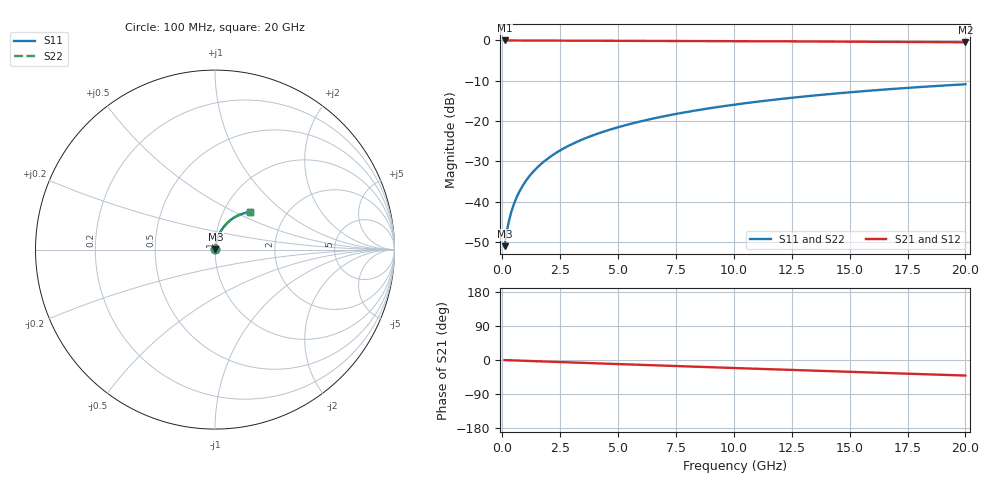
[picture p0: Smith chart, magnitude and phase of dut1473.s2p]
! Touchstone file exported from HFSS 2026.1.0
!  File:  C:/ffzhzh/LocalFiles/Ansys_Project_Files/temp_train_TMRDL_1473_1783167554_22436.aedt
!  Generated:  08:20:33 PM Jul  4, 2026
!  Design:  TMRDL
!  Project:  temp_train_TMRDL_1473_1783167554_22436
! Variables:
!  h_bsmrdl = 2um
!  h_ox = 20um
!  h_rdl = 5um
!  h_sub = 80um
!  h_tmrdl = 5.21um
!  h_tsv = 80um
!  h_via = 3um
!  l_bsmrdl = 300um
!  l_sub = 1053.1um
!  l_tmrdl = 653.1um
!  m_sub = 200um
!  pitch = 44.74um
!  r_tsv = 6um
!  s_tmrdl = 10um
!  w_bsmrdl = 18um
!  w_sub = 500um
!  w_tmrdl = 25.3um
!  x_tsv_center1 = 665.75um
!  x_tsv_center2 = 983.75um
!  x_tsv_center3 = 1662.15um
!  x_tsv_center4 = 1980.15um
!  x_tsv_center5 = 2658.55um
!  x_tsv_center6 = 2976.55um
# GHz S MA R 50.000000
! Terminal data exported
! Port[1] = TM_RDL1_1_T1
! Port[2] = TM_RDL1_1_T2
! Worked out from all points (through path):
!   200 points, 100 MHz to 20 GHz, reference 50 ohm
!   highest |S21| = -0.02 dB at 100 MHz (marker M1); lowest = -0.5 dB at 20 GHz (marker M2)
!   group delay of S21, straight-line fit = 5.69 ps
!   lowest |S11| = -51.1 dB at 100 MHz (marker M3), VSWR 1.01, Z = 50.2 + j0.199 ohm
!   |S11| at or under -10 dB: start of sweep to end of sweep
!   |S22| runs from -51.1 to -10.9 dB; largest |S21 - S12| = 4.7e-15
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0.1  0.002799 45.0  0.998 -0.2  0.998 -0.2  0.002799 45.0
! Gamma 0 0 0 0
! Port Impedance 50 0 50 0
0.2  0.004364 59.9  0.9978 -0.5  0.9978 -0.5  0.004364 59.9
0.3  0.005974 66.9  0.9977 -0.7  0.9977 -0.7  0.005974 66.9
0.4  0.007608 71.0  0.9976 -0.9  0.9976 -0.9  0.007608 71.0
0.5  0.009268 73.7  0.9975 -1.1  0.9975 -1.1  0.009268 73.7
0.6  0.01095 75.6  0.9975 -1.3  0.9975 -1.3  0.01095 75.6
0.8  0.01434 77.9  0.9973 -1.8  0.9973 -1.8  0.01434 77.9
1.1  0.01946 79.6  0.9971 -2.4  0.9971 -2.4  0.01946 79.6
1.5  0.0263 80.3  0.9967 -3.3  0.9967 -3.3  0.0263 80.3
1.8  0.0314 80.3  0.9963 -3.9  0.9963 -3.9  0.0314 80.3
2.1  0.03647 80.1  0.996 -4.6  0.996 -4.6  0.03647 80.1
2.7  0.0465 79.4  0.9951 -5.9  0.9951 -5.9  0.0465 79.4
3.5  0.05965 78.1  0.9937 -7.6  0.9937 -7.6  0.05965 78.1
4.2  0.07095 76.8  0.9924 -9.1  0.9924 -9.1  0.07095 76.8
5  0.08367 75.4  0.9909 -10.8  0.9909 -10.8  0.08367 75.4
5.9  0.09776 73.7  0.989 -12.6  0.989 -12.6  0.09775 73.7
6.8  0.1116 72.0  0.987 -14.5  0.987 -14.5  0.1116 72.0
8.3  0.1342 69.2  0.9835 -17.6  0.9835 -17.6  0.1342 69.2
10.1  0.1606 65.8  0.9788 -21.3  0.9788 -21.3  0.1605 65.7
13.4  0.2062 59.4  0.9693 -28.0  0.9693 -28.0  0.2062 59.4
16.7  0.248 53.1  0.9587 -34.6  0.9587 -34.6  0.248 53.1
20  0.2856 46.9  0.9477 -41.0  0.9477 -41.0  0.2856 46.9
